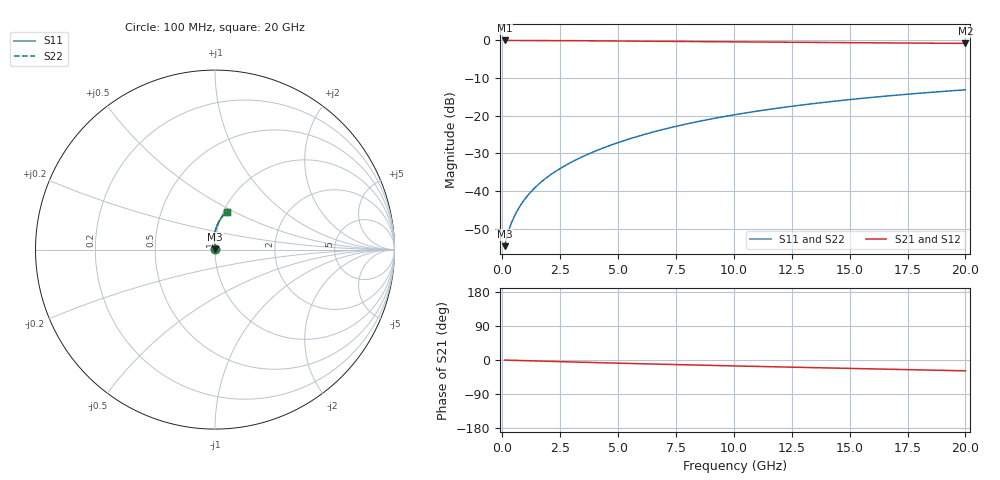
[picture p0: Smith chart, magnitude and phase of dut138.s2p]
! Touchstone file exported from HFSS 2024.1.0
!  File:  C:/UserFiles/LocalFiles/RDL_TSV_Batchsim/temp_RDL_top_138_1778684648.aedt
!  Generated:  11:06:13 PM May 13, 2026
!  Design:  RDL_top
!  Project:  temp_RDL_top_138_1778684648
!  Setup:  Setup1
!  Solution:  Sweep
! Variables:
!  dtsv = 10.80580581um
!  hbump = 3um
!  htsv = 79.21um
!  ldown = 100um
!  lrdl = 431.25um
!  p = 40
!  p1 = 47.86um
!  rhole = 1um
!  t = 450um
!  tdown = 3.915915916um
!  trdl = 3.97um
!  wdown = 15.38538539um
!  wrdl = 28.37um
# GHz S MA R 50.000000
! Terminal data exported
! Port[1] = Box2_T1
! Port[2] = Box2_T2
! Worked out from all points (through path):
!   200 points, 100 MHz to 20 GHz, reference 50 ohm
!   highest |S21| = -0.01 dB at 100 MHz (marker M1); lowest = -0.8 dB at 20 GHz (marker M2)
!   group delay of S21, straight-line fit = 3.9 ps
!   lowest |S11| = -54.6 dB at 100 MHz (marker M3), VSWR 1.00, Z = 50.2 + j0.096 ohm
!   |S11| at or under -10 dB: start of sweep to end of sweep
!   |S22| runs from -54.6 to -13.1 dB; largest |S21 - S12| = 5.2e-15
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0.1  0.001863 30.9  0.9984 -0.2  0.9984 -0.2  0.001863 30.9
! Gamma 0 0 0 0
! Port Impedance 50 0 50 0
0.2  0.002505 46.4  0.9982 -0.4  0.9982 -0.4  0.002505 46.4
0.3  0.003172 54.7  0.9981 -0.5  0.9981 -0.5  0.003172 54.7
0.4  0.003834 60.5  0.9979 -0.7  0.9979 -0.7  0.003834 60.5
0.5  0.004502 64.8  0.9978 -0.9  0.9978 -0.9  0.004502 64.8
0.6  0.005182 68.3  0.9977 -1.1  0.9977 -1.1  0.005183 68.3
0.8  0.006584 73.5  0.9974 -1.4  0.9974 -1.4  0.006585 73.5
1  0.008035 77.3  0.9971 -1.8  0.9971 -1.8  0.008035 77.3
1.2  0.009525 80.1  0.9968 -2.1  0.9968 -2.1  0.009525 80.1
1.7  0.0134 84.8  0.9957 -3.0  0.9957 -3.0  0.0134 84.8
2.2  0.01747 87.8  0.9943 -3.8  0.9943 -3.8  0.01747 87.8
2.8  0.02262 90.2  0.9922 -4.8  0.9922 -4.8  0.02262 90.2
3.5  0.02901 92.0  0.9894 -6.0  0.9894 -6.0  0.02901 92.0
4.2  0.03582 93.1  0.9862 -7.1  0.9862 -7.1  0.03582 93.1
5  0.04407 93.7  0.9823 -8.4  0.9823 -8.4  0.04408 93.7
6.8  0.06417 93.2  0.973 -11.1  0.973 -11.1  0.06418 93.2
8.4  0.08323 91.5  0.9646 -13.4  0.9646 -13.4  0.08324 91.5
10.1  0.1041 89.1  0.9561 -15.7  0.9561 -15.7  0.1041 89.1
11.7  0.1239 86.6  0.9485 -17.9  0.9485 -17.9  0.1239 86.6
13.4  0.1447 83.8  0.9407 -20.1  0.9407 -20.1  0.1447 83.7
16.7  0.1841 78.3  0.9263 -24.4  0.9263 -24.4  0.1841 78.3
20  0.2213 73.0  0.9124 -28.6  0.9124 -28.6  0.2213 73.0
